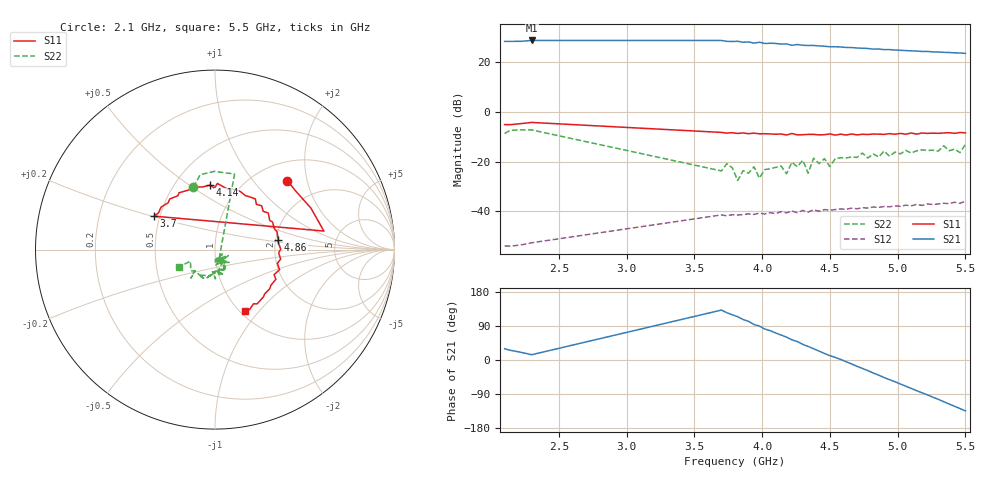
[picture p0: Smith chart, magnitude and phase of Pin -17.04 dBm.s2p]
! RsaToolbox (C) 2015 Rohde & Schwarz America
! Number of points: 50
! Number of ports: 2
! Balanced ports?: No
# Hz S RI R 50
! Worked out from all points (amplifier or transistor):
!   50 points, 2.1 GHz to 5.5 GHz, reference 50 ohm
!   highest |S21| = 28.9 dB at 2.3 GHz (marker M1)
!   |S21| within 3 dB of that: start of sweep to 4.69 GHz
!   unconditionally stable (mu >= 1): start of sweep to end of sweep
!   at 3.86 GHz: K = 2.08, MAG = 28.9 dB, |S12| = -41.4 dB
!   at 4.54 GHz: K = 2.03, MAG = 27.1 dB, |S12| = -39.4 dB
!   at 5.5 GHz: K = 1.75, MAG = 24.8 dB, |S12| = -36.0 dB
!   S11 on the Smith chart (normalised r, x): 2.1 GHz: 1.37, +1.52; 3.7 GHz: 0.47, +0.20; 4.14 GHz: 0.73, +0.60; 4.86 GHz: 2.07, +0.26; 5.5 GHz: 1.05, -0.84
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2.1e9  0.4033 0.3837  23.11 13.17  -0.000408 -0.00195  -0.1201 0.3464
2.3e9  0.6068 0.1033  26.97 6.696  -0.000597 -0.00222  0.1089 0.4207
3.7e9  -0.3392 0.1863  -18.49 20.71  0.00108 0.0083  0.021 -0.0612
3.82e9  -0.2612 0.2607  -10.97 24.4  0.00292 0.0078  0.0057 -0.041
3.86e9  -0.2516 0.282  -7.365 24.5  0.00389 0.00757  0.016 -0.0635
3.9e9  -0.2069 0.3  -5.338 25.39  0.00437 0.00763  0.0187 -0.055
3.94e9  -0.2001 0.3166  -1.595 24.47  0.00516 0.00684  0.0331 -0.0713
3.98e9  -0.1474 0.3318  0.2091 25.57  0.00571 0.00707  0.0396 -0.0242
4.02e9  -0.1374 0.3372  3.491 23.9  0.00637 0.00598  0.000541 -0.0688
4.14e9  -0.0302 0.3587  9.577 21.46  0.00822 0.0052  0.0745 -0.0327
4.18e9  -0.00251 0.3431  11.72 20.61  0.00822 0.00412  9.42e-05 -0.0567
4.22e9  0.0136 0.3685  13.31 17.78  0.00936 0.00369  0.0625 -0.0737
4.26e9  0.0677 0.3381  15.15 17.3  0.00878 0.00296  0.0297 -0.0727
4.38e9  0.1401 0.3243  19.14 10.91  0.0106 0.000638  0.0531 -0.1038
4.58e9  0.2599 0.2444  20.51 0.5013  0.0106 -0.00332  0.0565 -0.1055
4.74e9  0.3199 0.1543  17.93 -7.319  0.00959 -0.00667  0.0495 -0.1398
4.86e9  0.353 0.0556  14.32 -12.01  0.00716 -0.00949  -0.0144 -0.1228
4.94e9  0.3662 0.00278  11.21 -14.31  0.00592 -0.0107  -0.00684 -0.1281
5.06e9  0.3475 -0.0764  6.221 -16.23  0.00321 -0.0128  -0.0492 -0.1606
5.22e9  0.3118 -0.1985  -0.6089 -16.67  -0.00113 -0.0139  -0.0836 -0.1448
5.38e9  0.2351 -0.3021  -6.998 -14.26  -0.0056 -0.013  -0.1119 -0.1219
5.5e9  0.1646 -0.3424  -10.66 -10.89  -0.00909 -0.0129  -0.2015 -0.0955
